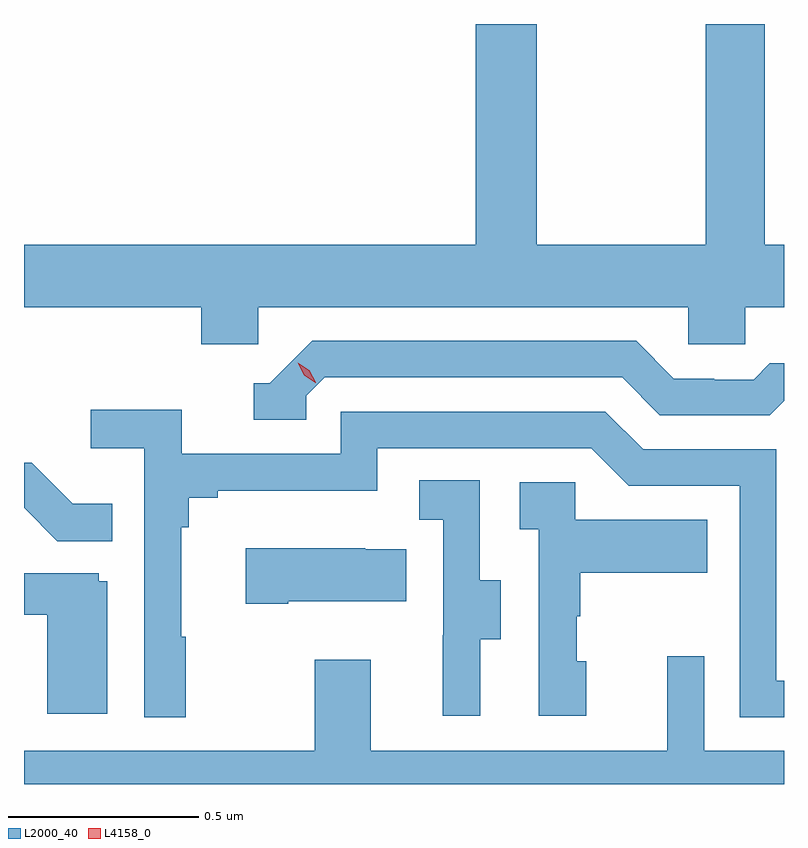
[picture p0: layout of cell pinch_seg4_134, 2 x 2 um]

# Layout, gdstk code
import gdstk
lib = gdstk.Library(unit=1e-6, precision=1e-09)
def P(c, l, *ps):  # polygons
    for p in ps: c.add(gdstk.Polygon(p, *l))
L2000_40 = (2000, 40)
L4158_0 = (4158, 0)

pinch_seg4_134 = lib.new_cell('pinch_seg4_134')
P(pinch_seg4_134, L2000_40, [(1046.352,804.812),(1047.483,804.812),(1047.483,804.714),(1047.633,804.714),(1047.633,804.812),(1047.735,804.812),(1047.735,804.976),(1047.684,804.976),(1047.684,805.557),(1047.529,805.557),(1047.529,804.976),(1047.084,804.976),(1047.084,805.557),(1046.924,805.557),(1046.924,804.976),(1045.735,804.976),(1045.735,804.812),(1046.201,804.812),(1046.201,804.714),(1046.352,804.714)],
  [(1046.478,804.579),(1046.526,804.627),(1047.309,804.627),(1047.408,804.528),(1047.697,804.528),(1047.735,804.566),(1047.735,804.664),(1047.697,804.664),(1047.655,804.621),(1047.552,804.621),(1047.552,804.624),(1047.445,804.624),(1047.346,804.723),(1046.493,804.723),(1046.382,804.612),(1046.339,804.612),(1046.339,804.516),(1046.478,804.516)],
  [(1046.161,803.945),(1046.149,803.945),(1046.149,804.233),(1046.168,804.233),(1046.168,804.31),(1046.245,804.31),(1046.245,804.329),(1046.664,804.329),(1046.664,804.441),(1047.228,804.441),(1047.327,804.342),(1047.618,804.342),(1047.618,803.733),(1047.735,803.733),(1047.735,803.829),(1047.714,803.829),(1047.714,804.438),(1047.364,804.438),(1047.265,804.537),(1046.568,804.537),(1046.568,804.426),(1046.15,804.426),(1046.15,804.542),(1045.911,804.542),(1045.911,804.44),(1046.052,804.44),(1046.052,803.733),(1046.161,803.733)],
  [(1045.967,804.295),(1045.863,804.295),(1045.756,804.402),(1045.735,804.402),(1045.735,804.284),(1045.823,804.196),(1045.967,804.196)],
  [(1046.935,803.938),(1046.989,803.938),(1046.989,804.093),(1046.934,804.093),(1046.934,804.356),(1046.775,804.356),(1046.775,804.253),(1046.838,804.253),(1046.838,803.949),(1046.837,803.949),(1046.837,803.736),(1046.935,803.736)],
  [(1047.214,803.88),(1047.189,803.88),(1047.189,803.999),(1047.199,803.999),(1047.199,804.113),(1047.533,804.113),(1047.533,804.253),(1047.186,804.253),(1047.186,804.351),(1047.039,804.351),(1047.039,804.227),(1047.09,804.227),(1047.09,803.736),(1047.214,803.736)],
  [(1046.431,804.038),(1046.741,804.038),(1046.741,804.175),(1046.633,804.175),(1046.633,804.178),(1046.319,804.178),(1046.319,804.031),(1046.431,804.031)],
  [(1045.954,804.09),(1045.932,804.09),(1045.932,804.111),(1045.735,804.111),(1045.735,804.003),(1045.796,804.003),(1045.796,803.742),(1045.954,803.742)],
  [(1047.735,803.644),(1047.525,803.644),(1047.525,803.893),(1047.428,803.893),(1047.428,803.644),(1046.647,803.644),(1046.647,803.884),(1046.5,803.884),(1046.5,803.644),(1045.735,803.644),(1045.735,803.557),(1047.735,803.557)])
P(pinch_seg4_134, L4158_0, [(1046.502,804.613),(1046.472,804.633),(1046.455,804.665),(1046.455,804.666),(1046.455,804.666),(1046.486,804.646),(1046.503,804.614),(1046.503,804.613)])

lib.write_gds('pinch_seg4_134.gds')
